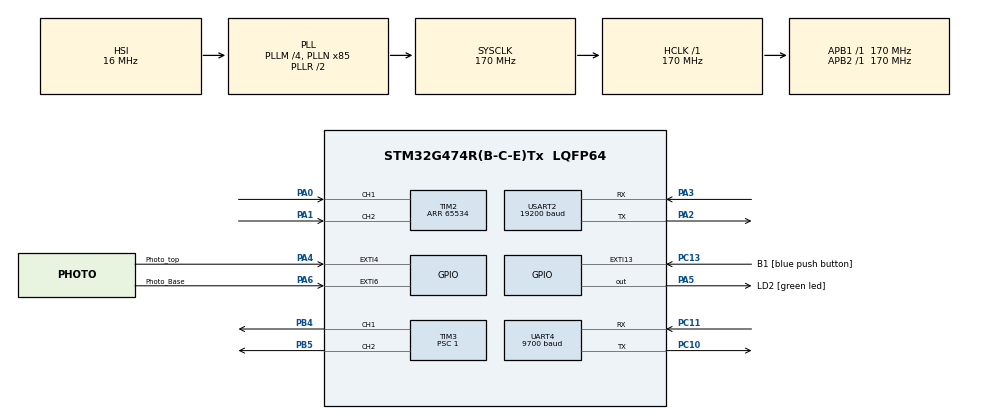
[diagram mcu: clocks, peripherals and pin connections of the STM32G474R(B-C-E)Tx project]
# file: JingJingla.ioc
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ARM.CMSIS-DSP.1.15.0.CMSISJjDSP=Source
ARM.CMSIS.6.0.0.CMSISJjCORE=true
Dma.Request0=USART2_TX
Dma.Request1=USART2_RX
Dma.USART2_RX.1.Direction=DMA_PERIPH_TO_MEMORY
Dma.USART2_RX.1.EventEnable=DISABLE
Dma.USART2_RX.1.Instance=DMA1_Channel2
Dma.USART2_RX.1.MemDataAlignment=DMA_MDATAALIGN_BYTE
Dma.USART2_RX.1.MemInc=DMA_MINC_ENABLE
Dma.USART2_RX.1.Mode=DMA_NORMAL
Dma.USART2_RX.1.PeriphDataAlignment=DMA_PDATAALIGN_BYTE
Dma.USART2_RX.1.PeriphInc=DMA_PINC_DISABLE
Dma.USART2_RX.1.Polarity=HAL_DMAMUX_REQ_GEN_RISING
Dma.USART2_RX.1.Priority=DMA_PRIORITY_LOW
Dma.USART2_RX.1.RequestNumber=1
Dma.USART2_RX.1.SignalID=NONE
Dma.USART2_RX.1.SyncEnable=DISABLE
Dma.USART2_RX.1.SyncPolarity=HAL_DMAMUX_SYNC_NO_EVENT
Dma.USART2_RX.1.SyncRequestNumber=1
Dma.USART2_RX.1.SyncSignalID=NONE
Dma.USART2_TX.0.Direction=DMA_MEMORY_TO_PERIPH
Dma.USART2_TX.0.EventEnable=DISABLE
Dma.USART2_TX.0.Instance=DMA1_Channel1
Dma.USART2_TX.0.MemDataAlignment=DMA_MDATAALIGN_BYTE
Dma.USART2_TX.0.MemInc=DMA_MINC_ENABLE
Dma.USART2_TX.0.Mode=DMA_NORMAL
Dma.USART2_TX.0.PeriphDataAlignment=DMA_PDATAALIGN_BYTE
Dma.USART2_TX.0.PeriphInc=DMA_PINC_DISABLE
Dma.USART2_TX.0.Polarity=HAL_DMAMUX_REQ_GEN_RISING
Dma.USART2_TX.0.Priority=DMA_PRIORITY_LOW
Dma.USART2_TX.0.RequestNumber=1
Dma.USART2_TX.0.SignalID=NONE
Dma.USART2_TX.0.SyncEnable=DISABLE
Dma.USART2_TX.0.SyncPolarity=HAL_DMAMUX_SYNC_NO_EVENT
Dma.USART2_TX.0.SyncRequestNumber=1
Dma.USART2_TX.0.SyncSignalID=NONE
Mcu.Family=STM32G4
Mcu.Name=STM32G474R(B-C-E)Tx
Mcu.Package=LQFP64
NVIC.DMA1_Channel1_IRQn=true\:0\:0\:false\:false\:true\:false\:true\:true
NVIC.DMA1_Channel2_IRQn=true\:0\:0\:false\:false\:true\:false\:true\:true
NVIC.EXTI15_10_IRQn=true\:0\:0\:false\:false\:true\:true\:true\:true
NVIC.EXTI4_IRQn=true\:0\:0\:false\:false\:true\:true\:true\:true
NVIC.EXTI9_5_IRQn=true\:0\:0\:false\:false\:true\:true\:true\:true
NVIC.PriorityGroup=NVIC_PRIORITYGROUP_4
NVIC.TIM1_UP_TIM16_IRQn=true\:0\:0\:false\:false\:true\:true\:true\:true
NVIC.TIM4_IRQn=true\:0\:0\:false\:false\:true\:true\:true\:true
NVIC.TIM5_IRQn=true\:0\:0\:false\:false\:true\:true\:true\:true
NVIC.USART2_IRQn=true\:0\:0\:false\:false\:true\:true\:true\:true
PA0.Signal=S_TIM2_CH1
PA1.Signal=S_TIM2_CH2
PA13.GPIO_Label=T_SWDIO
PA13.Mode=Serial_Wire
PA13.Signal=SYS_JTMS-SWDIO
PA14.GPIO_Label=T_SWCLK
PA14.Mode=Serial_Wire
PA14.Signal=SYS_JTCK-SWCLK
PA2.Mode=Asynchronous
PA2.Signal=USART2_TX
PA3.Mode=Asynchronous
PA3.Signal=USART2_RX
PA4.GPIO_Label=Photo_top
PA4.Signal=GPXTI4
PA5.GPIO_Label=LD2 [green led]
PA5.Signal=GPIO_Output
PA6.GPIO_Label=Photo_Base
PA6.Signal=GPXTI6
PB3.GPIO_Label=T_SWO
PB3.Signal=SYS_JTDO-SWO
PB4.Signal=S_TIM3_CH1
PB5.Signal=S_TIM3_CH2
PC10.Mode=Asynchronous
PC10.Signal=UART4_TX
PC11.Mode=Asynchronous
PC11.Signal=UART4_RX
PC13.GPIO_Label=B1 [blue push button]
PC13.Signal=GPXTI13
PC14-OSC32_IN.Mode=LSE-External-Oscillator
PC14-OSC32_IN.Signal=RCC_OSC32_IN
PC15-OSC32_OUT.Mode=LSE-External-Oscillator
PC15-OSC32_OUT.Signal=RCC_OSC32_OUT
PF0-OSC_IN.Mode=HSE-External-Oscillator
PF0-OSC_IN.Signal=RCC_OSC_IN
PF1-OSC_OUT.Mode=HSE-External-Oscillator
PF1-OSC_OUT.Signal=RCC_OSC_OUT
ProjectManager.HeapSize=0x200
ProjectManager.StackSize=0x400
ProjectManager.TargetToolchain=STM32CubeIDE
RCC.ADC12Freq_Value=170000000
RCC.ADC345Freq_Value=170000000
RCC.AHBFreq_Value=170000000
RCC.APB1Freq_Value=170000000
RCC.APB1TimFreq_Value=170000000
RCC.APB2Freq_Value=170000000
RCC.APB2TimFreq_Value=170000000
RCC.CortexFreq_Value=170000000
RCC.EXTERNAL_CLOCK_VALUE=12288000
RCC.HCLKFreq_Value=170000000
RCC.HSE_VALUE=24000000
RCC.HSI48_VALUE=48000000
RCC.HSI_VALUE=16000000
RCC.PLLM=RCC_PLLM_DIV4
RCC.PLLN=85
RCC.RTCClockSelection=RCC_RTCCLKSOURCE_LSE
RCC.SYSCLKFreq_VALUE=170000000
RCC.SYSCLKSource=RCC_SYSCLKSOURCE_PLLCLK
RCC.USBFreq_Value=170000000
RCC.VCOOutputFreq_Value=340000000
SH.S_TIM2_CH1.0=TIM2_CH1,Encoder_Interface
SH.S_TIM2_CH2.0=TIM2_CH2,Encoder_Interface
SH.S_TIM3_CH1.0=TIM3_CH1,PWM Generation1 CH1
SH.S_TIM3_CH2.0=TIM3_CH2,PWM Generation2 CH2
TIM16.PeriodNoDither=1145
TIM16.Prescaler=169
TIM2.EncoderMode=TIM_ENCODERMODE_TI12
TIM2.PeriodNoDither=65534
TIM3.Channel-PWM\ Generation1\ CH1=TIM_CHANNEL_1
TIM3.Channel-PWM\ Generation2\ CH2=TIM_CHANNEL_2
TIM3.PeriodNoDither=42499
TIM3.Prescaler=1
TIM3.PulseNoDither_1=1000
TIM4.PeriodNoDither=499
TIM4.Prescaler=169
TIM5.Prescaler=169
TIM6.PeriodNoDither=10
TIM6.Prescaler=169
TIM6.TIM_MasterOutputTrigger=TIM_TRGO_UPDATE
UART4.BaudRate=9700
UART4.RXFIFOThreshold=RXFIFO_THRESHOLD_1EIGHTHFULL
USART2.BaudRate=19200
USART2.Parity=PARITY_EVEN
USART2.VirtualMode-Asynchronous=VM_ASYNC
USART2.WordLength=WORDLENGTH_9B
VP_ARM.CMSIS-DSP_VS_CMSISJjDSP_1.15.0_1.15.0.Mode=CMSISJjDSP
VP_ARM.CMSIS_VS_CMSISJjCORE_6.0.0_6.0.0.Mode=CMSISJjCORE
VP_SYS_VS_DBSignals.Mode=DisableDeadBatterySignals
VP_TIM16_VS_ClockSourceINT.Mode=Enable_Timer
VP_TIM16_VS_OPM.Mode=OPM_bit
VP_TIM1_VS_ClockSourceINT.Mode=Internal
VP_TIM3_VS_ClockSourceINT.Mode=Internal
VP_TIM4_VS_ClockSourceINT.Mode=Internal
VP_TIM5_VS_ClockSourceINT.Mode=Internal
VP_TIM6_VS_ClockSourceINT.Mode=Enable_Timer
board=NUCLEO-G474RE

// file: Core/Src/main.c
/* USER CODE BEGIN Header */
/**
  ******************************************************************************
  * @file           : main.c
  * @brief          : Main program body
  ******************************************************************************
  * @attention
  *
  * Copyright (c) 2024 STMicroelectronics.
  * All rights reserved.
  *
  * This software is licensed under terms that can be found in the LICENSE file
  * in the root directory of this software component.
  * If no LICENSE file comes with this software, it is provided AS-IS.
  *
  ******************************************************************************
  */
/* USER CODE END Header */
#include "main.h"

/* USER CODE BEGIN Includes */
#include "kalman.h"
#include "Encoder.h"
#include "Motor.h"
#include "PID_controller.h"
#include "Trapezoidal.h"
#include "PS2.h"
#include "Modbus.h"
#include "Base.h"
/* USER CODE END Includes */

TIM_HandleTypeDef htim1;
TIM_HandleTypeDef htim2;
TIM_HandleTypeDef htim3;
TIM_HandleTypeDef htim4;
TIM_HandleTypeDef htim5;
TIM_HandleTypeDef htim6;
TIM_HandleTypeDef htim16;

UART_HandleTypeDef huart4;
UART_HandleTypeDef huart2;
DMA_HandleTypeDef hdma_usart2_tx;
DMA_HandleTypeDef hdma_usart2_rx;

/* USER CODE BEGIN PV */

// Define
AMT_Encoder AMT;
MOTOR MT;
PID_struct PID;
PID_struct PID_pos;
PID_struct PID_velo;
Trap_Traj Traj;
KalmanFilter Vel_filtered;
ModbusHandleTypedef hmodbus;
extern u16u8_t registerFrame[200];
BaseStruct base;
PS2_typedef ps2;
// Define some variables
uint64_t _micros;					//
int ppp ;
float elapsedTime = 0.0f;			// Total elapsed time in seconds

uint64_t micros();
void HAL_TIM_PeriodElapsedCallback(TIM_HandleTypeDef *htim);
/* USER CODE END PV */

void SystemClock_Config(void);
static void MX_GPIO_Init(void);
static void MX_DMA_Init(void);
static void MX_TIM2_Init(void);
static void MX_TIM5_Init(void);
static void MX_TIM3_Init(void);
static void MX_TIM4_Init(void);
static void MX_TIM1_Init(void);
static void MX_TIM6_Init(void);
static void MX_TIM16_Init(void);
static void MX_USART2_UART_Init(void);
static void MX_UART4_Init(void);

int main(void)
{

  /* MCU Configuration--------------------------------------------------------*/

  /* Reset of all peripherals, Initializes the Flash interface and the Systick. */
  HAL_Init();

  /* Configure the system clock */
  SystemClock_Config();

  /* Initialize all configured peripherals */
  MX_GPIO_Init();
  MX_DMA_Init();
  MX_TIM2_Init();
  MX_TIM5_Init();
  MX_TIM3_Init();
  MX_TIM4_Init();
  MX_TIM1_Init();
  MX_TIM6_Init();
  MX_TIM16_Init();
  MX_USART2_UART_Init();
  MX_UART4_Init();
  /* USER CODE BEGIN 2 */

HAL_TIM_Base_Start_IT(&htim5);
HAL_TIM_Base_Start_IT(&htim4);

HAL_TIM_Base_Start(&htim2);					// AMT Encoder
HAL_TIM_Base_Start(&htim3);					// Output compare
HAL_TIM_Base_Start(&htim6);					// Trajectory trigger

//float PID_pos_K[3] = {0.01 ,0.0, 0};
float PID_pos_K[3] = {4.5 ,0.00000000495, 0};

//float PID_velo_K[3] = {3.35 ,0.050, 0.001};
float PID_velo_K[3] = {3.35 ,0.050, 0.001};

// Initialize ASRS
Traject_init(&Traj,450, 500);				// V_max, A_max
Kalman_Start(&Vel_filtered);
AMT_encoder_init(&AMT, &htim2);
MOTOR_init(&MT, &htim3,TIM_CHANNEL_2, TIM_CHANNEL_1);
PID_controller_init(&PID_pos,PID_pos_K[0],PID_pos_K[1],PID_pos_K[2]);
PID_controller_init(&PID_velo,PID_velo_K[0],PID_velo_K[1],PID_velo_K[3]);
Base_init(&base);
PS2_init(&ps2);

// Modbus & Joystick
hmodbus.huart = &huart2;
hmodbus.htim = &htim16;
hmodbus.slaveAddress = 0x15;
hmodbus.RegisterSize =200;
Modbus_init(&hmodbus, registerFrame);

  /* USER CODE END 2 */

  /* Infinite loop */
  while (1)
  {

    /* USER CODE BEGIN 3 */
	  static uint64_t timestamp =0;
	  int64_t currentTime = HAL_GetTick();
	  if(currentTime > timestamp)
	  {
	  timestamp =currentTime + 1;//ms
	  AMT_encoder_update(&AMT, &htim2, micros());
	  }
	  if(ppp == 1)
	  {
		  if (__HAL_TIM_GET_FLAG(&htim6, TIM_FLAG_UPDATE) != RESET)
			 {
				 // Clear the update flag
				 __HAL_TIM_CLEAR_FLAG(&htim6, TIM_FLAG_UPDATE);
				 elapsedTime += 0.00001;
				 Traject(&Traj, 0.0, 600.0);
			}
	  }

	  HAL_UART_Receive(&huart4,ps2.ps2RX, 10 ,10);
	  if(ps2.ps2RX[0] == 74){
		  ps2.stop = 1;
	  }
	  if (ps2.stop == 1 && ps2.ps2RX[0] == 75){
		  ps2.stop = 0;
		  ps2.pwmOut = 150;
		  __HAL_TIM_SET_COMPARE(&htim3, TIM_CHANNEL_1, ps2.pwmOut);		//Stop and Holf Position
		  __HAL_TIM_SET_COMPARE(&htim3, TIM_CHANNEL_2, 0);

	  }
	  else if(ps2.stop == 0){
		  PS2X_Reader();
	  }

  }
  /* USER CODE END 3 */
}

void SystemClock_Config(void)
{
  RCC_OscInitTypeDef RCC_OscInitStruct = {0};
  RCC_ClkInitTypeDef RCC_ClkInitStruct = {0};

  /** Configure the main internal regulator output voltage
  */
  HAL_PWREx_ControlVoltageScaling(PWR_REGULATOR_VOLTAGE_SCALE1_BOOST);

  /** Initializes the RCC Oscillators according to the specified parameters
  * in the RCC_OscInitTypeDef structure.
  */
  RCC_OscInitStruct.OscillatorType = RCC_OSCILLATORTYPE_HSI;
  RCC_OscInitStruct.HSIState = RCC_HSI_ON;
  RCC_OscInitStruct.HSICalibrationValue = RCC_HSICALIBRATION_DEFAULT;
  RCC_OscInitStruct.PLL.PLLState = RCC_PLL_ON;
  RCC_OscInitStruct.PLL.PLLSource = RCC_PLLSOURCE_HSI;
  RCC_OscInitStruct.PLL.PLLM = RCC_PLLM_DIV4;
  RCC_OscInitStruct.PLL.PLLN = 85;
  RCC_OscInitStruct.PLL.PLLP = RCC_PLLP_DIV2;
  RCC_OscInitStruct.PLL.PLLQ = RCC_PLLQ_DIV2;
  RCC_OscInitStruct.PLL.PLLR = RCC_PLLR_DIV2;
  if (HAL_RCC_OscConfig(&RCC_OscInitStruct) != HAL_OK)
  {
    Error_Handler();
  }

  /** Initializes the CPU, AHB and APB buses clocks
  */
  RCC_ClkInitStruct.ClockType = RCC_CLOCKTYPE_HCLK|RCC_CLOCKTYPE_SYSCLK
                              |RCC_CLOCKTYPE_PCLK1|RCC_CLOCKTYPE_PCLK2;
  RCC_ClkInitStruct.SYSCLKSource = RCC_SYSCLKSOURCE_PLLCLK;
  RCC_ClkInitStruct.AHBCLKDivider = RCC_SYSCLK_DIV1;
  RCC_ClkInitStruct.APB1CLKDivider = RCC_HCLK_DIV1;
  RCC_ClkInitStruct.APB2CLKDivider = RCC_HCLK_DIV1;

  if (HAL_RCC_ClockConfig(&RCC_ClkInitStruct, FLASH_LATENCY_4) != HAL_OK)
  {
    Error_Handler();
  }
}

static void MX_TIM1_Init(void)
{

  TIM_ClockConfigTypeDef sClockSourceConfig = {0};
  TIM_MasterConfigTypeDef sMasterConfig = {0};

  htim1.Instance = TIM1;
  htim1.Init.Prescaler = 0;
  htim1.Init.CounterMode = TIM_COUNTERMODE_UP;
  htim1.Init.Period = 65535;
  htim1.Init.ClockDivision = TIM_CLOCKDIVISION_DIV1;
  htim1.Init.RepetitionCounter = 0;
  htim1.Init.AutoReloadPreload = TIM_AUTORELOAD_PRELOAD_DISABLE;
  if (HAL_TIM_Base_Init(&htim1) != HAL_OK)
  {
    Error_Handler();
  }
  sClockSourceConfig.ClockSource = TIM_CLOCKSOURCE_INTERNAL;
  if (HAL_TIM_ConfigClockSource(&htim1, &sClockSourceConfig) != HAL_OK)
  {
    Error_Handler();
  }
  sMasterConfig.MasterOutputTrigger = TIM_TRGO_RESET;
  sMasterConfig.MasterOutputTrigger2 = TIM_TRGO2_RESET;
  sMasterConfig.MasterSlaveMode = TIM_MASTERSLAVEMODE_DISABLE;
  if (HAL_TIMEx_MasterConfigSynchronization(&htim1, &sMasterConfig) != HAL_OK)
  {
    Error_Handler();
  }

}

static void MX_TIM2_Init(void)
{

  TIM_Encoder_InitTypeDef sConfig = {0};
  TIM_MasterConfigTypeDef sMasterConfig = {0};

  htim2.Instance = TIM2;
  htim2.Init.Prescaler = 0;
  htim2.Init.CounterMode = TIM_COUNTERMODE_UP;
  htim2.Init.Period = 65534;
  htim2.Init.ClockDivision = TIM_CLOCKDIVISION_DIV1;
  htim2.Init.AutoReloadPreload = TIM_AUTORELOAD_PRELOAD_DISABLE;
  sConfig.EncoderMode = TIM_ENCODERMODE_TI12;
  sConfig.IC1Polarity = TIM_ICPOLARITY_RISING;
  sConfig.IC1Selection = TIM_ICSELECTION_DIRECTTI;
  sConfig.IC1Prescaler = TIM_ICPSC_DIV1;
  sConfig.IC1Filter = 0;
  sConfig.IC2Polarity = TIM_ICPOLARITY_RISING;
  sConfig.IC2Selection = TIM_ICSELECTION_DIRECTTI;
  sConfig.IC2Prescaler = TIM_ICPSC_DIV1;
  sConfig.IC2Filter = 0;
  if (HAL_TIM_Encoder_Init(&htim2, &sConfig) != HAL_OK)
  {
    Error_Handler();
  }
  sMasterConfig.MasterOutputTrigger = TIM_TRGO_RESET;
  sMasterConfig.MasterSlaveMode = TIM_MASTERSLAVEMODE_DISABLE;
  if (HAL_TIMEx_MasterConfigSynchronization(&htim2, &sMasterConfig) != HAL_OK)
  {
    Error_Handler();
  }

}

static void MX_TIM3_Init(void)
{

  TIM_ClockConfigTypeDef sClockSourceConfig = {0};
  TIM_MasterConfigTypeDef sMasterConfig = {0};
  TIM_OC_InitTypeDef sConfigOC = {0};

  htim3.Instance = TIM3;
  htim3.Init.Prescaler = 1;
  htim3.Init.CounterMode = TIM_COUNTERMODE_UP;
  htim3.Init.Period = 42499;
  htim3.Init.ClockDivision = TIM_CLOCKDIVISION_DIV1;
  htim3.Init.AutoReloadPreload = TIM_AUTORELOAD_PRELOAD_DISABLE;
  if (HAL_TIM_Base_Init(&htim3) != HAL_OK)
  {
    Error_Handler();
  }
  sClockSourceConfig.ClockSource = TIM_CLOCKSOURCE_INTERNAL;
  if (HAL_TIM_ConfigClockSource(&htim3, &sClockSourceConfig) != HAL_OK)
  {
    Error_Handler();
  }
  if (HAL_TIM_PWM_Init(&htim3) != HAL_OK)
  {
    Error_Handler();
  }
  sMasterConfig.MasterOutputTrigger = TIM_TRGO_RESET;
  sMasterConfig.MasterSlaveMode = TIM_MASTERSLAVEMODE_DISABLE;
  if (HAL_TIMEx_MasterConfigSynchronization(&htim3, &sMasterConfig) != HAL_OK)
  {
    Error_Handler();
  }
  sConfigOC.OCMode = TIM_OCMODE_PWM1;
  sConfigOC.Pulse = 1000;
  sConfigOC.OCPolarity = TIM_OCPOLARITY_HIGH;
  sConfigOC.OCFastMode = TIM_OCFAST_DISABLE;
  if (HAL_TIM_PWM_ConfigChannel(&htim3, &sConfigOC, TIM_CHANNEL_1) != HAL_OK)
  {
    Error_Handler();
  }
  sConfigOC.Pulse = 0;
  if (HAL_TIM_PWM_ConfigChannel(&htim3, &sConfigOC, TIM_CHANNEL_2) != HAL_OK)
  {
    Error_Handler();
  }
  HAL_TIM_MspPostInit(&htim3);

}

static void MX_TIM4_Init(void)
{

  TIM_ClockConfigTypeDef sClockSourceConfig = {0};
  TIM_MasterConfigTypeDef sMasterConfig = {0};

  htim4.Instance = TIM4;
  htim4.Init.Prescaler = 169;
  htim4.Init.CounterMode = TIM_COUNTERMODE_UP;
  htim4.Init.Period = 499;
  htim4.Init.ClockDivision = TIM_CLOCKDIVISION_DIV1;
  htim4.Init.AutoReloadPreload = TIM_AUTORELOAD_PRELOAD_DISABLE;
  if (HAL_TIM_Base_Init(&htim4) != HAL_OK)
  {
    Error_Handler();
  }
  sClockSourceConfig.ClockSource = TIM_CLOCKSOURCE_INTERNAL;
  if (HAL_TIM_ConfigClockSource(&htim4, &sClockSourceConfig) != HAL_OK)
  {
    Error_Handler();
  }
  sMasterConfig.MasterOutputTrigger = TIM_TRGO_RESET;
  sMasterConfig.MasterSlaveMode = TIM_MASTERSLAVEMODE_DISABLE;
  if (HAL_TIMEx_MasterConfigSynchronization(&htim4, &sMasterConfig) != HAL_OK)
  {
    Error_Handler();
  }

}

static void MX_TIM5_Init(void)
{

  TIM_ClockConfigTypeDef sClockSourceConfig = {0};
  TIM_MasterConfigTypeDef sMasterConfig = {0};

  htim5.Instance = TIM5;
  htim5.Init.Prescaler = 169;
  htim5.Init.CounterMode = TIM_COUNTERMODE_UP;
  htim5.Init.Period = 4294967295;
  htim5.Init.ClockDivision = TIM_CLOCKDIVISION_DIV1;
  htim5.Init.AutoReloadPreload = TIM_AUTORELOAD_PRELOAD_DISABLE;
  if (HAL_TIM_Base_Init(&htim5) != HAL_OK)
  {
    Error_Handler();
  }
  sClockSourceConfig.ClockSource = TIM_CLOCKSOURCE_INTERNAL;
  if (HAL_TIM_ConfigClockSource(&htim5, &sClockSourceConfig) != HAL_OK)
  {
    Error_Handler();
  }
  sMasterConfig.MasterOutputTrigger = TIM_TRGO_RESET;
  sMasterConfig.MasterSlaveMode = TIM_MASTERSLAVEMODE_DISABLE;
  if (HAL_TIMEx_MasterConfigSynchronization(&htim5, &sMasterConfig) != HAL_OK)
  {
    Error_Handler();
  }

}

static void MX_TIM6_Init(void)
{

  TIM_MasterConfigTypeDef sMasterConfig = {0};

  htim6.Instance = TIM6;
  htim6.Init.Prescaler = 169;
  htim6.Init.CounterMode = TIM_COUNTERMODE_UP;
  htim6.Init.Period = 10;
  htim6.Init.AutoReloadPreload = TIM_AUTORELOAD_PRELOAD_DISABLE;
  if (HAL_TIM_Base_Init(&htim6) != HAL_OK)
  {
    Error_Handler();
  }
  sMasterConfig.MasterOutputTrigger = TIM_TRGO_UPDATE;
  sMasterConfig.MasterSlaveMode = TIM_MASTERSLAVEMODE_DISABLE;
  if (HAL_TIMEx_MasterConfigSynchronization(&htim6, &sMasterConfig) != HAL_OK)
  {
    Error_Handler();
  }

}

static void MX_TIM16_Init(void)
{

  htim16.Instance = TIM16;
  htim16.Init.Prescaler = 169;
  htim16.Init.CounterMode = TIM_COUNTERMODE_UP;
  htim16.Init.Period = 1145;
  htim16.Init.ClockDivision = TIM_CLOCKDIVISION_DIV1;
  htim16.Init.RepetitionCounter = 0;
  htim16.Init.AutoReloadPreload = TIM_AUTORELOAD_PRELOAD_DISABLE;
  if (HAL_TIM_Base_Init(&htim16) != HAL_OK)
  {
    Error_Handler();
  }
  if (HAL_TIM_OnePulse_Init(&htim16, TIM_OPMODE_SINGLE) != HAL_OK)
  {
    Error_Handler();
  }

}

static void MX_UART4_Init(void)
{

  huart4.Instance = UART4;
  huart4.Init.BaudRate = 9700;
  huart4.Init.WordLength = UART_WORDLENGTH_8B;
  huart4.Init.StopBits = UART_STOPBITS_1;
  huart4.Init.Parity = UART_PARITY_NONE;
  huart4.Init.Mode = UART_MODE_TX_RX;
  huart4.Init.HwFlowCtl = UART_HWCONTROL_NONE;
  huart4.Init.OverSampling = UART_OVERSAMPLING_16;
  huart4.Init.OneBitSampling = UART_ONE_BIT_SAMPLE_DISABLE;
  huart4.Init.ClockPrescaler = UART_PRESCALER_DIV1;
  huart4.AdvancedInit.AdvFeatureInit = UART_ADVFEATURE_NO_INIT;
  if (HAL_UART_Init(&huart4) != HAL_OK)
  {
    Error_Handler();
  }
  if (HAL_UARTEx_SetTxFifoThreshold(&huart4, UART_TXFIFO_THRESHOLD_1_8) != HAL_OK)
  {
    Error_Handler();
  }
  if (HAL_UARTEx_SetRxFifoThreshold(&huart4, UART_RXFIFO_THRESHOLD_1_8) != HAL_OK)
  {
    Error_Handler();
  }
  if (HAL_UARTEx_DisableFifoMode(&huart4) != HAL_OK)
  {
    Error_Handler();
  }

}

static void MX_USART2_UART_Init(void)
{

  huart2.Instance = USART2;
  huart2.Init.BaudRate = 19200;
  huart2.Init.WordLength = UART_WORDLENGTH_9B;
  huart2.Init.StopBits = UART_STOPBITS_1;
  huart2.Init.Parity = UART_PARITY_EVEN;
  huart2.Init.Mode = UART_MODE_TX_RX;
  huart2.Init.HwFlowCtl = UART_HWCONTROL_NONE;
  huart2.Init.OverSampling = UART_OVERSAMPLING_16;
  huart2.Init.OneBitSampling = UART_ONE_BIT_SAMPLE_DISABLE;
  huart2.Init.ClockPrescaler = UART_PRESCALER_DIV1;
  huart2.AdvancedInit.AdvFeatureInit = UART_ADVFEATURE_NO_INIT;
  if (HAL_UART_Init(&huart2) != HAL_OK)
  {
    Error_Handler();
  }
  if (HAL_UARTEx_SetTxFifoThreshold(&huart2, UART_TXFIFO_THRESHOLD_1_8) != HAL_OK)
  {
    Error_Handler();
  }
  if (HAL_UARTEx_SetRxFifoThreshold(&huart2, UART_RXFIFO_THRESHOLD_1_8) != HAL_OK)
  {
    Error_Handler();
  }
  if (HAL_UARTEx_DisableFifoMode(&huart2) != HAL_OK)
  {
    Error_Handler();
  }

}

static void MX_DMA_Init(void)
{

  /* DMA controller clock enable */
  __HAL_RCC_DMAMUX1_CLK_ENABLE();
  __HAL_RCC_DMA1_CLK_ENABLE();

  /* DMA interrupt init */
  /* DMA1_Channel1_IRQn interrupt configuration */
  HAL_NVIC_SetPriority(DMA1_Channel1_IRQn, 0, 0);
  HAL_NVIC_EnableIRQ(DMA1_Channel1_IRQn);
  /* DMA1_Channel2_IRQn interrupt configuration */
  HAL_NVIC_SetPriority(DMA1_Channel2_IRQn, 0, 0);
  HAL_NVIC_EnableIRQ(DMA1_Channel2_IRQn);

}

static void MX_GPIO_Init(void)
{
  GPIO_InitTypeDef GPIO_InitStruct = {0};

  /* GPIO Ports Clock Enable */
  __HAL_RCC_GPIOC_CLK_ENABLE();
  __HAL_RCC_GPIOF_CLK_ENABLE();
  __HAL_RCC_GPIOA_CLK_ENABLE();
  __HAL_RCC_GPIOB_CLK_ENABLE();

  /*Configure GPIO pin Output Level */
  HAL_GPIO_WritePin(LD2_GPIO_Port, LD2_Pin, GPIO_PIN_RESET);

  /*Configure GPIO pin : B1_Pin */
  GPIO_InitStruct.Pin = B1_Pin;
  GPIO_InitStruct.Mode = GPIO_MODE_IT_RISING;
  GPIO_InitStruct.Pull = GPIO_NOPULL;
  HAL_GPIO_Init(B1_GPIO_Port, &GPIO_InitStruct);

  /*Configure GPIO pins : Photo_top_Pin Photo_Base_Pin */
  GPIO_InitStruct.Pin = Photo_top_Pin|Photo_Base_Pin;
  GPIO_InitStruct.Mode = GPIO_MODE_IT_RISING;
  GPIO_InitStruct.Pull = GPIO_NOPULL;
  HAL_GPIO_Init(GPIOA, &GPIO_InitStruct);

  /*Configure GPIO pin : LD2_Pin */
  GPIO_InitStruct.Pin = LD2_Pin;
  GPIO_InitStruct.Mode = GPIO_MODE_OUTPUT_PP;
  GPIO_InitStruct.Pull = GPIO_NOPULL;
  GPIO_InitStruct.Speed = GPIO_SPEED_FREQ_LOW;
  HAL_GPIO_Init(LD2_GPIO_Port, &GPIO_InitStruct);

  /* EXTI interrupt init*/
  HAL_NVIC_SetPriority(EXTI4_IRQn, 0, 0);
  HAL_NVIC_EnableIRQ(EXTI4_IRQn);

  HAL_NVIC_SetPriority(EXTI9_5_IRQn, 0, 0);
  HAL_NVIC_EnableIRQ(EXTI9_5_IRQn);

  HAL_NVIC_SetPriority(EXTI15_10_IRQn, 0, 0);
  HAL_NVIC_EnableIRQ(EXTI15_10_IRQn);

}

/* USER CODE BEGIN 4 */

uint64_t micros() 							// Microsecond
{
	return __HAL_TIM_GET_COUNTER(&htim5)+_micros;
}

// Timer Interrupt
void HAL_TIM_PeriodElapsedCallback(TIM_HandleTypeDef *htim)			// Timer Interrupt
{
	if(htim->Instance == TIM5)				// 1 MHz
	{
		_micros += 4294967296ULL;
	}
	if(htim->Instance == TIM4)				// 2000 Hz
	{
		if (ps2.mode == 2){
			PID_controller_calculate_pos(&PID_pos,&AMT,ps2.PIDPos);
			MOTOR_set_duty(&MT,PID.out);
		}
//		PID_controller_cascade(&PID_pos, &PID_velo, &AMT, Traj.currentPosition);
		if (ps2.mode == 1){
			MOTOR_set_duty(&MT,ps2.pwmOut);
		}

	}

}

// Photo Limit Condition
void HAL_GPIO_EXTI_Callback(uint16_t GPIO_Pin)
{
    if (GPIO_Pin == GPIO_PIN_6)				// Interrupt for Top Photo
    {
    	if (HAL_GPIO_ReadPin(GPIOA, GPIO_PIN_6) == GPIO_PIN_SET)
    	{
    		HAL_GPIO_WritePin(GPIOA, GPIO_PIN_5, SET);
    	}
    }
    else if (GPIO_Pin == GPIO_PIN_4)		// Interrupt for Base Photo
    {
    	if (HAL_GPIO_ReadPin(GPIOA, GPIO_PIN_4) == GPIO_PIN_SET)
    	{
    		HAL_GPIO_WritePin(GPIOA, GPIO_PIN_5, SET);
    	}
    }
}

/* USER CODE END 4 */

void Error_Handler(void)
{
  __disable_irq();
  while (1)
  {
  }
}
